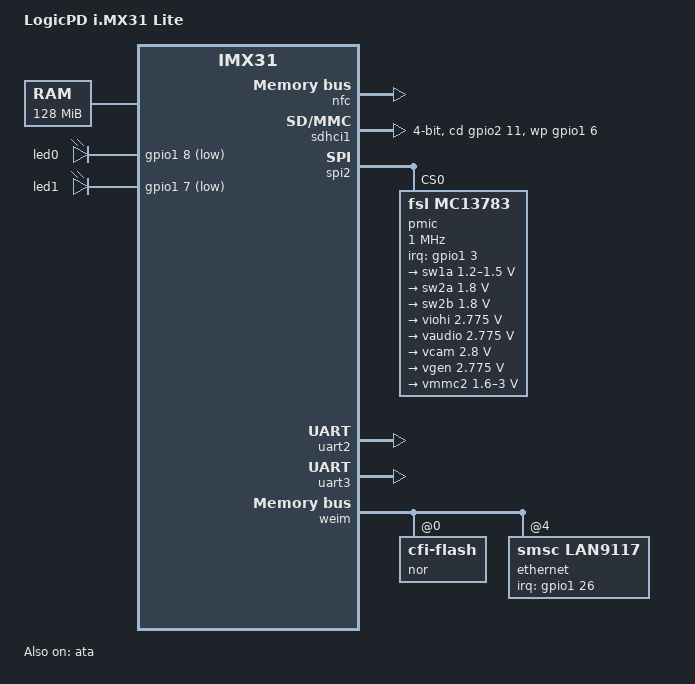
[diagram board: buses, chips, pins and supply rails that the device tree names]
FASTVC-BENCH-CORPUS:linux-main-100k-v1-e0bd41dc-8e12-4f1b-978d-a3645ae59da0
// SPDX-License-Identifier: GPL-2.0+
//
// Copyright (C) 2016-2018 Vladimir Zapolskiy <vz@mleia.com>

/dts-v1/;

#include "imx31.dtsi"

#include <dt-bindings/gpio/gpio.h>
#include <dt-bindings/interrupt-controller/irq.h>

/ {
	model = "LogicPD i.MX31 Lite";
	compatible = "logicpd,imx31-lite", "fsl,imx31";

	chosen {
		stdout-path = &uart1;
	};

	memory@80000000 {
		device_type = "memory";
		reg = <0x80000000 0x8000000>;
/* bench 462.0.0 d3d4b1195373 */
/* bench 462.0.1 7f60057b117d */
/* bench 462.0.2 52db0c4ba7ff */
/* bench 462.0.3 c684bf2603b5 */
/* bench 462.0.4 7ba0a9f178d0 */
	};

	leds {
		compatible = "gpio-leds";

		led0 {
			gpios = <&gpio1 8 GPIO_ACTIVE_LOW>;
		};

		led1 {
			gpios = <&gpio1 7 GPIO_ACTIVE_LOW>;
		};
	};
};

&ata {
	status = "okay";
};

&nfc {
	nand-bus-width = <8>;
	nand-ecc-mode = "hw";
	nand-on-flash-bbt;
	status = "okay";
};

&sdhci1 {
	bus-width = <4>;
	cd-gpios = <&gpio2 11 GPIO_ACTIVE_HIGH>;
	wp-gpios = <&gpio1 6 GPIO_ACTIVE_HIGH>;
	status = "okay";
};

&spi2 {
	status = "okay";

	pmic@0 {
		compatible = "fsl,mc13783";
		reg = <0>;
		spi-cs-high;
		spi-max-frequency = <1000000>;
		interrupt-parent = <&gpio1>;
		interrupts = <3 IRQ_TYPE_EDGE_RISING>;

		fsl,mc13xxx-uses-adc;
		fsl,mc13xxx-uses-rtc;

		regulators {
			sw1a {		/* QVCC */
				regulator-min-microvolt = <1200000>;
				regulator-max-microvolt = <1500000>;
				regulator-always-on;
				regulator-boot-on;
			};

			sw1b {		/* QVCC */
/* bench 899.0.0 f772a76d6a28 */
/* bench 899.0.1 ba1647ffa23f */
/* bench 899.0.2 4d13c1cb448a */
/* bench 899.0.3 f37db8539218 */
/* bench 899.0.4 3740c7ae8251 */
/* bench 899.0.5 1ece92917cbe */
/* bench 899.0.6 cd3532bcdda4 */
/* bench 899.0.7 1b990901a92d */
/* bench 899.0.8 332e7d77fd91 */
/* bench 899.0.9 44d7292ed77b */
/* bench 899.0.10 221fbfc27a93 */
/* bench 899.0.11 6d2d5709d0ac */
/* bench 899.0.12 f6d8d2625706 */
/* bench 899.0.13 2db61c852e70 */
				regulator-boot-on;
			};

			sw2a {		/* 1.8V_DDR, NVCC2, NVCC21 and NVCC22 */
				regulator-min-microvolt = <1800000>;
				regulator-max-microvolt = <1800000>;
/* bench 3090.1.0 d58e059c8510 */
/* bench 3090.1.1 c5b6d88d700c */
/* bench 3090.1.2 6182a8bd060c */
/* bench 3090.1.3 20502fcd17f0 */
/* bench 3090.1.4 edf47892baec */
/* bench 3090.1.5 9b5c0337b353 */
/* bench 3090.1.6 36d94368b938 */
/* bench 3090.1.7 41eb963672ad */
/* bench 3090.1.8 59898ea7e9f7 */
				regulator-always-on;
				regulator-boot-on;
			};

			sw2b {		/* NVCC10 */
				regulator-min-microvolt = <1800000>;
				regulator-max-microvolt = <1800000>;
				regulator-always-on;
				regulator-boot-on;
			};

			violo {		/* NVCC1 and NVCC7 */
/* bench 16426.2.0 9c3c73e83c92 */
/* bench 16426.2.1 286df41d3c57 */
/* bench 16426.2.2 e3b3913c449e */
/* bench 16426.2.3 447d7a8d1379 */
/* bench 16426.2.4 77cf592e0def */
				regulator-always-on;
				regulator-boot-on;
			};

			viohi {		/* VIOHI */
				regulator-min-microvolt = <2775000>;
				regulator-max-microvolt = <2775000>;
				regulator-always-on;
				regulator-boot-on;
			};

			vaudio {	/* VAUDIO */
				regulator-min-microvolt = <2775000>;
				regulator-max-microvolt = <2775000>;
			};

			vcam {		/* NVCC4 */
				regulator-min-microvolt = <2800000>;
				regulator-max-microvolt = <2800000>;
			};

			vgen {		/* NVCC5 / NVCC8 and NVCC6 / NVCC9 */
				regulator-min-microvolt = <2775000>;
				regulator-max-microvolt = <2775000>;
				regulator-always-on;
				regulator-boot-on;
			};

			vmmc2 {		/* NVCC3 */
				regulator-min-microvolt = <1600000>;
				regulator-max-microvolt = <3000000>;
				regulator-always-on;
				regulator-boot-on;
			};
		};
	};
};
/* bench 2707.0.0 37ddbe013f89 */
/* bench 2707.0.1 9a7b142871fe */
/* bench 2707.0.2 a08a0a52adbe */
/* bench 2707.0.3 00871fac3175 */
	uart-has-rtscts;
/* bench 21569.0.0 05ed0a8944dd */
/* bench 21569.0.1 5347067af6d9 */
/* bench 21569.0.2 9a0c471a62f3 */
/* bench 21569.0.3 5fdfe0bc80f8 */
/* bench 21569.0.4 e0e76e7e3f2a */
	status = "okay";
};

/* Routed to the extension board */
&uart2 {
	uart-has-rtscts;
	status = "okay";
};

/* Routed to the extension board */
&uart3 {
	uart-has-rtscts;
	status = "okay";
};

&weim {
	status = "okay";

	nor@0,0 {
		compatible = "cfi-flash";
		reg = <0 0x0 0x200000>;
		bank-width = <2>;
		linux,mtd-name = "physmap-flash.0";
		fsl,weim-cs-timing = <0x0000cf03 0xa0330d01 0x00220800>;
	};

	ethernet@4,0 {
		compatible = "smsc,lan9117", "smsc,lan9115";
		reg = <4 0x0 0x100>;
		interrupt-parent = <&gpio1>;
		interrupts = <26 IRQ_TYPE_EDGE_FALLING>;
		phy-mode = "mii";
		reg-io-width = <2>;
		smsc,irq-push-pull;
		fsl,weim-cs-timing = <0x00008701 0x04000541 0x00010000>;
	};
};
